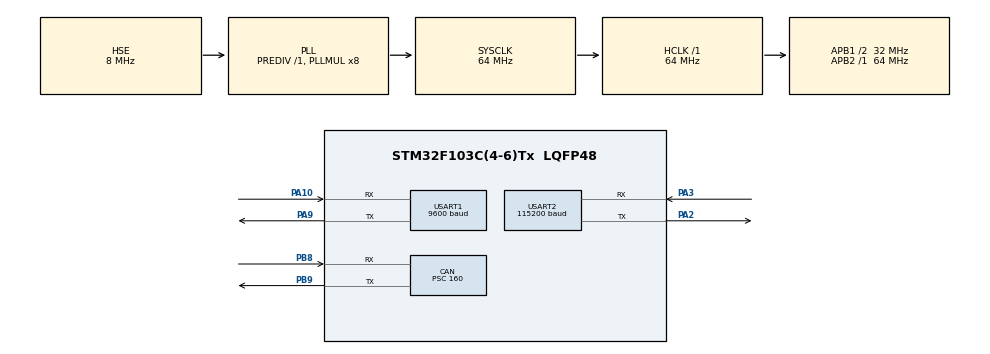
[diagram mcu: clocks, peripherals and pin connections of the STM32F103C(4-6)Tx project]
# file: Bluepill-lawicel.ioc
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CAN.ABOM=ENABLE
CAN.BS1=CAN_BS1_13TQ
CAN.BS2=CAN_BS2_2TQ
CAN.CalculateBaudRate=12500
CAN.CalculateTimeBit=80000
CAN.CalculateTimeQuantum=5000.0
CAN.Mode=CAN_MODE_LOOPBACK
CAN.Prescaler=160
Dma.Request0=USART2_TX
Dma.Request1=USART1_TX
Dma.USART1_TX.1.Direction=DMA_MEMORY_TO_PERIPH
Dma.USART1_TX.1.Instance=DMA1_Channel4
Dma.USART1_TX.1.MemDataAlignment=DMA_MDATAALIGN_BYTE
Dma.USART1_TX.1.MemInc=DMA_MINC_ENABLE
Dma.USART1_TX.1.Mode=DMA_NORMAL
Dma.USART1_TX.1.PeriphDataAlignment=DMA_PDATAALIGN_BYTE
Dma.USART1_TX.1.PeriphInc=DMA_PINC_DISABLE
Dma.USART1_TX.1.Priority=DMA_PRIORITY_LOW
Dma.USART2_TX.0.Direction=DMA_MEMORY_TO_PERIPH
Dma.USART2_TX.0.Instance=DMA1_Channel7
Dma.USART2_TX.0.MemDataAlignment=DMA_MDATAALIGN_BYTE
Dma.USART2_TX.0.MemInc=DMA_MINC_ENABLE
Dma.USART2_TX.0.Mode=DMA_NORMAL
Dma.USART2_TX.0.PeriphDataAlignment=DMA_PDATAALIGN_BYTE
Dma.USART2_TX.0.PeriphInc=DMA_PINC_DISABLE
Dma.USART2_TX.0.Priority=DMA_PRIORITY_LOW
Mcu.Family=STM32F1
Mcu.Name=STM32F103C(4-6)Tx
Mcu.Package=LQFP48
NVIC.DMA1_Channel4_IRQn=true\:0\:0\:false\:false\:true\:false\:true\:true
NVIC.DMA1_Channel7_IRQn=true\:0\:0\:false\:false\:true\:false\:true\:true
NVIC.PriorityGroup=NVIC_PRIORITYGROUP_4
NVIC.USART1_IRQn=true\:0\:0\:false\:false\:true\:true\:true\:true
NVIC.USART2_IRQn=true\:0\:0\:false\:false\:true\:true\:true\:true
NVIC.USB_LP_CAN1_RX0_IRQn=true\:0\:0\:false\:false\:true\:true\:true\:true
PA10.GPIO_PuPd=GPIO_PULLUP
PA10.Mode=LIN
PA10.Signal=USART1_RX
PA13.Mode=Serial_Wire
PA13.Signal=SYS_JTMS-SWDIO
PA14.Mode=Serial_Wire
PA14.Signal=SYS_JTCK-SWCLK
PA2.Mode=Asynchronous
PA2.Signal=USART2_TX
PA3.GPIO_PuPd=GPIO_NOPULL
PA3.Mode=Asynchronous
PA3.Signal=USART2_RX
PA9.Mode=LIN
PA9.Signal=USART1_TX
PB8.Mode=CAN_Activate
PB8.Signal=CAN_RX
PB9.Mode=CAN_Activate
PB9.Signal=CAN_TX
PD0-OSC_IN.Mode=HSE-External-Oscillator
PD0-OSC_IN.Signal=RCC_OSC_IN
PD1-OSC_OUT.Mode=HSE-External-Oscillator
PD1-OSC_OUT.Signal=RCC_OSC_OUT
ProjectManager.HeapSize=0x200
ProjectManager.StackSize=0x400
ProjectManager.TargetToolchain=STM32CubeIDE
RCC.AHBFreq_Value=64000000
RCC.APB1CLKDivider=RCC_HCLK_DIV2
RCC.APB1Freq_Value=32000000
RCC.APB1TimFreq_Value=64000000
RCC.APB2Freq_Value=64000000
RCC.APB2TimFreq_Value=64000000
RCC.HCLKFreq_Value=64000000
RCC.PLLMUL=RCC_PLL_MUL8
RCC.PLLSourceVirtual=RCC_PLLSOURCE_HSE
RCC.SYSCLKFreq_VALUE=64000000
RCC.SYSCLKSource=RCC_SYSCLKSOURCE_PLLCLK
RCC.USBFreq_Value=64000000
USART1.BaudRate=9600
USART1.VirtualMode=VM_ASYNC
USART2.BaudRate=115200
USART2.VirtualMode=VM_ASYNC
VP_RTC_VS_RTC_Activate.Mode=RTC_Enabled
board=custom

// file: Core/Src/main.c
/* USER CODE BEGIN Header */
/**
  ******************************************************************************
  * @file           : main.c
  * @brief          : Main program body
  ******************************************************************************
  * @attention
  *
  * Copyright (c) 2023 STMicroelectronics.
  * All rights reserved.
  *
  * This software is licensed under terms that can be found in the LICENSE file
  * in the root directory of this software component.
  * If no LICENSE file comes with this software, it is provided AS-IS.
  *
  ******************************************************************************
  */
/* USER CODE END Header */
#include "main.h"
#include "can.h"
#include "dma.h"
#include "rtc.h"
#include "usart.h"
#include "gpio.h"

/* USER CODE BEGIN Includes */
//#include "usbd_cdc_if.h"
#include <stdlib.h>
#include "GVRET.h"
#include <string.h>
#include "LIN.h"
/* USER CODE END Includes */

/* USER CODE BEGIN PD */
UART_HandleTypeDef *huart_active;
UART_HandleTypeDef *huart_lin;

/* USER CODE END PD */

/* USER CODE BEGIN PV */
uint64_t time_stamp_UART = 0;
uint64_t time_stamp_LED = 0;
uint64_t time_stamp_BUT = 0;
uint64_t time_stamp_SAVE = 0;
//can_msg_t can_msg;
uint8_t uart_tx_bufer[128];
uint8_t uart_tx_bufer_1[128];
uint8_t uart_tx_bufer_active_no = 0;
uint8_t uart_tx_com_bufer[32];
uint8_t uart_answ_ready = 0;
uint32_t uart_tx_pointer = 0;
uint8_t uart_rx_bufer[1024];
uint32_t uart_rx_pointer_w = 0;
uint32_t uart_rx_pointer_r = 0;
uint8_t uart_rx_char;
uint8_t flash_buffer[128];

uint8_t script_read_buf[1024];
uint32_t debug_pt = 0;

conf_t conf;

can_msg_t can_rx_buf[2];
volatile uint8_t uart_busy = 0;

uint8_t test_str[] = "Hello World \r\n";

uint32_t rx_led_ts = 0;
uint32_t tx_led_ts = 0;
uint32_t error_led_ts = 0;
uint8_t rx_led_z1 = 0;
uint8_t tx_led_z1 = 0;
uint8_t error_led_z1 = 0;

//uint8_t in[100], out[150];

uint8_t script_buf[CMD_BUFFER_LENGTH];
uint8_t script_buf_pointer = 0;

extern const char help_text[];

/* USER CODE END PV */

void SystemClock_Config(void);
/* USER CODE BEGIN PFP */
void ConvertValToString(int64_t n, uint8_t s[]);
void SendToUart_CanHacker(can_msg_t msg);

void UART_Check_Data_Ready(void);
/* USER CODE END PFP */

/* USER CODE BEGIN 0 */
uint8_t txt_hallo[] = "CAN temperature logger\r\n";
uint8_t timestamp[] = "1234567890";

void UART_Check_Data_Ready(void)
{
	if(uart_answ_ready == 1)
	{
		for(int i = 0; i < uart_tx_pointer; i++)
		{
			uart_tx_bufer[i] = uart_tx_com_bufer[i];
		}
		HAL_UART_Transmit_DMA(huart_active, uart_tx_bufer, uart_tx_pointer);
		uart_tx_pointer = 0;
		uart_busy = 1;
		uart_answ_ready = 0;
	}
	else
	{
		if(conf.state == LAWICEL_CONNECT || conf.state == SAVVYCAN_CONNECT)
		{
			if(CAN_Buffer_pull() == HAL_OK)
			{
				uart_busy = 1;
				//HAL_GPIO_WritePin(RX_LED_GPIO_Port, RX_LED_Pin, GPIO_PIN_RESET);
			}
		}
		else
		{
			//CAN_Buffer_clean();
		}

		if(conf.help_print)
				{
					uart_tx_pointer = 0;
					for(int i = conf.help_text_pointer; i < conf.help_text_pointer + 128; i++)
					{
						uart_tx_bufer[uart_tx_pointer++] = help_text[i];
						if(help_text[i] == '\0')
						{
							uart_tx_pointer--;
							conf.help_print = false;
							break;
						}
					}
					conf.help_text_pointer += 128;
					HAL_UART_Transmit_DMA(huart_active, uart_tx_bufer, uart_tx_pointer);
					uart_tx_pointer = 0;
					uart_busy = 1;
				}
	}

}

void HAL_UART_TxCpltCallback(UART_HandleTypeDef *huart)
{
	uart_busy = 0;
	UART_Check_Data_Ready();
	//HAL_GPIO_WritePin(RX_LED_GPIO_Port, RX_LED_Pin, GPIO_PIN_RESET);
}

void HAL_CAN_RxFifo1MsgPendingCallback(CAN_HandleTypeDef *hcan)
{
	HAL_CAN_GetRxMessage(hcan, CAN_RX_FIFO1, &can_rx_buf[1].header, can_rx_buf[1].data_byte);
	can_rx_buf[1].timestamp = HAL_GetTick();
	can_rx_buf[1].bus = eeprom_settings.numBus;
	CAN_Buffer_Write_Data(can_rx_buf[1]);
	if(conf.loger_run == true)
		CAN_Log_Buffer_Write_Data(can_rx_buf[1]);
}

void HAL_CAN_RxFifo0MsgPendingCallback(CAN_HandleTypeDef *hcan)
{
	if(HAL_CAN_GetRxMessage(hcan, CAN_RX_FIFO0, &can_rx_buf[0].header, can_rx_buf[0].data_byte) != HAL_OK) return;
	can_rx_buf[0].timestamp = HAL_GetTick();
	can_rx_buf[0].bus = eeprom_settings.numBus;
	CAN_Buffer_Write_Data(can_rx_buf[0]);
	if(conf.loger_run == true)
		CAN_Log_Buffer_Write_Data(can_rx_buf[0]);
}

void HAL_CAN_RxFifo0FullCallback(CAN_HandleTypeDef *hcan)
{
	HAL_CAN_RxFifo0MsgPendingCallback(hcan);
}

void HAL_CAN_RxFifo1FullCallback(CAN_HandleTypeDef *hcan)
{
	HAL_CAN_RxFifo1MsgPendingCallback(hcan);
}

void HAL_CAN_ErrorCallback(CAN_HandleTypeDef *hcan)
{
	return;
}

HAL_StatusTypeDef Save_to_File(uint8_t * buf, uint32_t len)
{
	return HAL_OK;
}

/* USER CODE END 0 */

int main(void)
{
  /* USER CODE BEGIN 1 */
	CAN_Buffer_Init();
  /* USER CODE END 1 */

  /* MCU Configuration--------------------------------------------------------*/

  /* Reset of all peripherals, Initializes the Flash interface and the Systick. */
  HAL_Init();

  /* USER CODE BEGIN Init */
  huart_active = &huart2;
  huart_lin = &huart1;
  /* USER CODE END Init */

  /* Configure the system clock */
  SystemClock_Config();

  /* Initialize all configured peripherals */
  MX_GPIO_Init();
  MX_CAN_Init();
  MX_DMA_Init();
  MX_USART2_UART_Init();
  MX_USART1_UART_Init();
  MX_RTC_Init();
  /* USER CODE BEGIN 2 */
  HAL_Delay(100);

  // first initialization
  if(eeprom_settings.number_of_busses == 0) {eeprom_settings.number_of_busses = 1;}
  if(eeprom_settings.numBus == 0) {eeprom_settings.numBus = 0;}
  if(eeprom_settings.CAN_Speed[0] == 0) {eeprom_settings.CAN_Speed[0] = 500000;}
  if(eeprom_settings.CAN_Speed[1] == 0) {eeprom_settings.CAN_Speed[1] = 250000;}
  if(eeprom_settings.CAN_Speed[2] == 0) {eeprom_settings.CAN_Speed[2] = 125000;}
  if(eeprom_settings.CAN_Speed[3] == 0) {eeprom_settings.CAN_Speed[3] = 10417;}
  for(int i=0; i<4;i++)
  {
	  if(eeprom_settings.CAN_mode[i] == 0) {eeprom_settings.CAN_mode[i] = CAN_MODE_SILENT;}
  }
  if(eeprom_settings.UART_Speed == 0) {eeprom_settings.UART_Speed = 1000000;}

  //Debug SavvyCAN connection
  HAL_UART_DeInit(huart_active);
  huart2.Init.BaudRate = 1000000;
  if (HAL_UART_Init(huart_active) != HAL_OK)
  {
	  return ERROR;
  }

  conf.script_run = true;
  conf.scpipt_saving = false;
  conf.script_address = eeprom_settings.start_address_script;
  conf.script_loop_address = 0xFFFF;

  Change_CAN_channel();
  /* USER CODE END 2 */

  /* Infinite loop */
  /* USER CODE BEGIN WHILE */
  /* Enable the UART Error Interrupt: (Frame error, noise error, overrun error) */
  __HAL_UART_ENABLE_IT(&huart2, UART_IT_ERR);

  /* Enable the UART Data Register not empty Interrupt */
  __HAL_UART_ENABLE_IT(&huart2, UART_IT_RXNE);

  while (1)
  {

	  while(uart_rx_pointer_r != uart_rx_pointer_w) // Buffer UART RX reading
	  {
		  uart_rx_pointer_r = (uart_rx_pointer_r + 1) & 1023;
		  Check_Command(uart_rx_bufer[uart_rx_pointer_r]);

	  }

		if(HAL_GetTick() - time_stamp_UART >= 20 && uart_busy == 0)
		{
			time_stamp_UART = HAL_GetTick();
			UART_Check_Data_Ready();
		}

		// LED blinking
		if(HAL_GetTick() - time_stamp_LED >= 500)
		{
			time_stamp_LED = HAL_GetTick();
// LIN DEBUG
//			uint8_t temp_buf[9] = {0x55,0x55,0x55,0x55,0x55,0x55,0x55,0x55,0x55};
//			lin_send_master_request(0x55, temp_buf, 9);
//			HAL_GPIO_WritePin(TX_LED_GPIO_Port, TX_LED_Pin, GPIO_PIN_SET);
		}

    /* USER CODE END WHILE */

  }
}

void SystemClock_Config(void)
{
  RCC_OscInitTypeDef RCC_OscInitStruct = {0};
  RCC_ClkInitTypeDef RCC_ClkInitStruct = {0};
  RCC_PeriphCLKInitTypeDef PeriphClkInit = {0};

  /** Initializes the RCC Oscillators according to the specified parameters
  * in the RCC_OscInitTypeDef structure.
  */
  RCC_OscInitStruct.OscillatorType = RCC_OSCILLATORTYPE_LSI|RCC_OSCILLATORTYPE_HSE;
  RCC_OscInitStruct.HSEState = RCC_HSE_ON;
  RCC_OscInitStruct.HSEPredivValue = RCC_HSE_PREDIV_DIV1;
  RCC_OscInitStruct.HSIState = RCC_HSI_ON;
  RCC_OscInitStruct.LSIState = RCC_LSI_ON;
  RCC_OscInitStruct.PLL.PLLState = RCC_PLL_ON;
  RCC_OscInitStruct.PLL.PLLSource = RCC_PLLSOURCE_HSE;
  RCC_OscInitStruct.PLL.PLLMUL = RCC_PLL_MUL8;
  if (HAL_RCC_OscConfig(&RCC_OscInitStruct) != HAL_OK)
  {
    Error_Handler();
  }

  /** Initializes the CPU, AHB and APB buses clocks
  */
  RCC_ClkInitStruct.ClockType = RCC_CLOCKTYPE_HCLK|RCC_CLOCKTYPE_SYSCLK
                              |RCC_CLOCKTYPE_PCLK1|RCC_CLOCKTYPE_PCLK2;
  RCC_ClkInitStruct.SYSCLKSource = RCC_SYSCLKSOURCE_PLLCLK;
  RCC_ClkInitStruct.AHBCLKDivider = RCC_SYSCLK_DIV1;
  RCC_ClkInitStruct.APB1CLKDivider = RCC_HCLK_DIV2;
  RCC_ClkInitStruct.APB2CLKDivider = RCC_HCLK_DIV1;

  if (HAL_RCC_ClockConfig(&RCC_ClkInitStruct, FLASH_LATENCY_2) != HAL_OK)
  {
    Error_Handler();
  }
  PeriphClkInit.PeriphClockSelection = RCC_PERIPHCLK_RTC;
  PeriphClkInit.RTCClockSelection = RCC_RTCCLKSOURCE_LSI;
  if (HAL_RCCEx_PeriphCLKConfig(&PeriphClkInit) != HAL_OK)
  {
    Error_Handler();
  }
}

/* USER CODE BEGIN 4 */
/* itoa:  convert integer to char[] */
void ConvertValToString(int64_t n, uint8_t s[])
{
    int i;
	   int64_t sign;

    if ((sign = n) < 0)  /* ?????????? ???? */
        n = -n;          /* ?????? n ????????????? ?????? */
    i = 0;
    do {       /* ?????????? ????? ? ???????? ??????? */
        s[i++] = n % 10 + '0';   /* ????? ????????? ????? */
    } while ((n /= 10) > 0);     /* ??????? */
    if (sign < 0)
        s[i++] = '-';
    for(int j = 0; j < i/2; j++)
    {
    	uint8_t buf = s[i - j - 1];
    	s[i - j - 1] = s[j];
    	s[j] = buf;
    }
    s[i] = '\0';

}

/* USER CODE END 4 */

void Error_Handler(void)
{
  __disable_irq();
  while (1)
  {
  }
}
